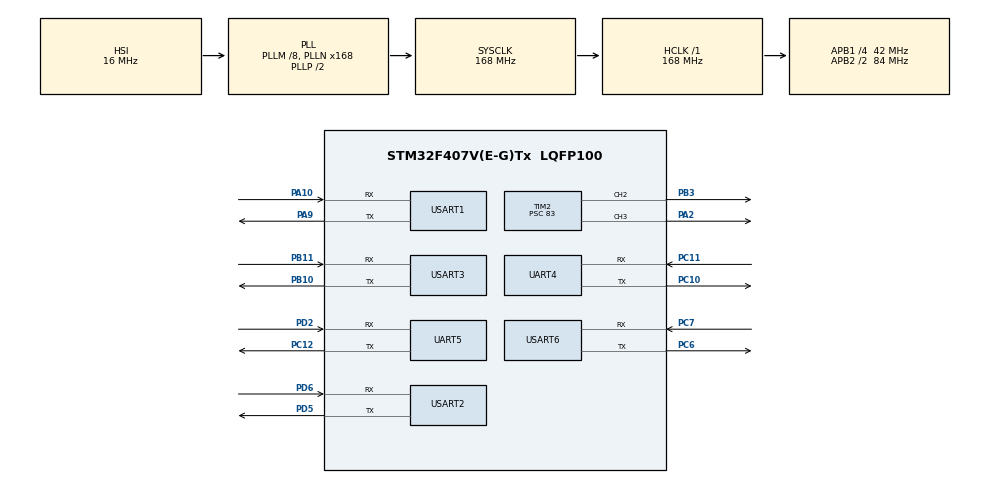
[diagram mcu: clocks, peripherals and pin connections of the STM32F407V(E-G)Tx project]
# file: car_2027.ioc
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Mcu.Family=STM32F4
Mcu.Name=STM32F407V(E-G)Tx
Mcu.Package=LQFP100
NVIC.PriorityGroup=NVIC_PRIORITYGROUP_4
NVIC.UART5_IRQn=true\:0\:0\:false\:false\:true\:true\:true\:true
NVIC.USART2_IRQn=true\:0\:0\:false\:false\:true\:true\:true\:true
PA10.Mode=Asynchronous
PA10.Signal=USART1_RX
PA13.Mode=Serial_Wire
PA13.Signal=SYS_JTMS-SWDIO
PA14.Mode=Serial_Wire
PA14.Signal=SYS_JTCK-SWCLK
PA2.Signal=S_TIM2_CH3
PA9.Mode=Asynchronous
PA9.Signal=USART1_TX
PB10.Mode=Asynchronous
PB10.Signal=USART3_TX
PB11.Mode=Asynchronous
PB11.Signal=USART3_RX
PB3.Signal=S_TIM2_CH2
PC10.Mode=Asynchronous
PC10.Signal=UART4_TX
PC11.Mode=Asynchronous
PC11.Signal=UART4_RX
PC12.Mode=Asynchronous
PC12.Signal=UART5_TX
PC6.Mode=Asynchronous
PC6.Signal=USART6_TX
PC7.Mode=Asynchronous
PC7.Signal=USART6_RX
PD2.Mode=Asynchronous
PD2.Signal=UART5_RX
PD5.Mode=Asynchronous
PD5.Signal=USART2_TX
PD6.Mode=Asynchronous
PD6.Signal=USART2_RX
ProjectManager.HeapSize=0x200
ProjectManager.StackSize=0x1000
ProjectManager.TargetToolchain=MDK-ARM V5.32
RCC.48MHZClocksFreq_Value=84000000
RCC.AHBFreq_Value=168000000
RCC.APB1CLKDivider=RCC_HCLK_DIV4
RCC.APB1Freq_Value=42000000
RCC.APB1TimFreq_Value=84000000
RCC.APB2CLKDivider=RCC_HCLK_DIV2
RCC.APB2Freq_Value=84000000
RCC.APB2TimFreq_Value=168000000
RCC.CortexFreq_Value=168000000
RCC.HCLKFreq_Value=168000000
RCC.HSE_VALUE=25000000
RCC.HSI_VALUE=16000000
RCC.LSE_VALUE=32768
RCC.PLLM=8
RCC.PLLN=168
RCC.SYSCLKFreq_VALUE=168000000
RCC.SYSCLKSource=RCC_SYSCLKSOURCE_PLLCLK
RCC.VCOOutputFreq_Value=336000000
SH.S_TIM2_CH2.0=TIM2_CH2,PWM Generation2 CH2
SH.S_TIM2_CH3.0=TIM2_CH3,PWM Generation3 CH3
TIM2.Channel-PWM\ Generation2\ CH2=TIM_CHANNEL_2
TIM2.Channel-PWM\ Generation3\ CH3=TIM_CHANNEL_3
TIM2.Period=19999
TIM2.Prescaler=83
TIM2.Pulse-PWM\ Generation2\ CH2=1500
TIM2.Pulse-PWM\ Generation3\ CH3=1500
UART4.VirtualMode=Asynchronous
UART5.VirtualMode=Asynchronous
USART1.VirtualMode=VM_ASYNC
USART2.VirtualMode=VM_ASYNC
USART3.VirtualMode=VM_ASYNC
USART6.VirtualMode=VM_ASYNC
VP_TIM2_VS_ClockSourceINT.Mode=Internal
board=custom

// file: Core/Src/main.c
/* USER CODE BEGIN Header */
/**
  ******************************************************************************
  * @file           : main.c
  * @brief          : Main program body
  ******************************************************************************
  * @attention
  *
  * Copyright (c) 2026 STMicroelectronics.
  * All rights reserved.
  *
  * This software is licensed under terms that can be found in the LICENSE file
  * in the root directory of this software component.
  * If no LICENSE file comes with this software, it is provided AS-IS.
  *
  ******************************************************************************
  */
/* USER CODE END Header */
#include "main.h"

/* USER CODE BEGIN Includes */
#include "Emm_V5.h"
#include "fashion_star_uart_servo.h"
#include "usart1.h"
#include "chassis.h"
#include "arm.h"
#include <stdio.h>
#include <string.h>
#include <math.h>
#include "hwt101.h"
#include "yaw_control.h"
#include <stdlib.h>
/* USER CODE END Includes */

TIM_HandleTypeDef htim2;

UART_HandleTypeDef huart4;
UART_HandleTypeDef huart5;
UART_HandleTypeDef huart1;
UART_HandleTypeDef huart2;
UART_HandleTypeDef huart3;
UART_HandleTypeDef huart6;

/* USER CODE BEGIN PV */
float yaw_target;
float debug_yaw;
float yaw_error;
float yaw_correction;

volatile float hwt_test_yaw = 0.0f;
/* USER CODE END PV */

void SystemClock_Config(void);
static void MX_GPIO_Init(void);
static void MX_TIM2_Init(void);
static void MX_UART4_Init(void);
static void MX_USART6_UART_Init(void);
static void MX_USART3_UART_Init(void);
static void MX_USART1_UART_Init(void);
static void MX_UART5_Init(void);
static void MX_USART2_UART_Init(void);
/* USER CODE BEGIN PFP */
void Link_Init(void);
void Link_RxCplt(void);
void Link_RxRestart(void);
void Link_Poll(void);
void Servo2_MoveRelative(float delta_angle);
void Claw_Set(uint32_t pulse_us);
void Claw_Open(void);
void Claw_Close(void);
void Turntable_Set(uint32_t pulse_us);
void Turntable_GoTo(uint8_t slot);
void Servos_PWM_Test(void);
void Delay_Report(uint32_t ms);

/* ID 1、ID 2 两个串口舵机(都在 usart2 上) */
float Servo_GetAngle(uint8_t id);
void  Servo_SetAngle(uint8_t id, float angle_deg, float speed_dps);
void  Servo_MoveRelative(uint8_t id, float delta_deg, float speed_dps);
void  Servo_Release(uint8_t id);
int   Servo_ReadAngle(uint8_t id, float *angle);
uint32_t Servo_Start(uint8_t id, float *angle_deg, float speed_dps);   /* 只发指令不等，返回估计要多少毫秒 */
void  Servo_Move(uint8_t id, float angle_deg, float speed_dps, float tol_deg, uint32_t extra_ms);   /* 可调到位误差的转动 */
void  Servo_StopIfStuck(uint8_t id, float target);   /* 没转到位又停住了：停在原地，不再一直顶着 */
void  Servo_Report(uint8_t id);                      /* SV?：电压/电流/功率/温度/状态 */
void  Servo_SetPower(uint16_t mw);                   /* 舵机转动时允许的最大功率(参数 SPOW) */
void  Servo_SetComp(uint8_t id, float deg);          /* 舵机往前多给的补偿角度(参数 S1COMP / S2COMP) */
void  Servo_SetLimits(uint8_t id, float lo, float hi);   /* 舵机限位(参数 S1MIN / S1MAX / S2MIN / S2MAX) */
void  Servo_Hold(uint8_t id, float angle_deg);       /* 停在 angle_deg，不再往原来的目标使劲 */
void  Servo_Track(uint8_t id, float angle_deg, float speed_dps);   /* 跟随用：只发目标不等，不补偿 */
int   Servo_Arrived(uint8_t id, float a, float tol_deg);   /* 到了没有(转过目标一点也算到) */
void  Servo_Params(uint8_t id);                      /* SVP?：舵机内部的保护设置 */
int   Servo_WriteParam(uint8_t id, const char *name, long value);   /* SVW：改舵机内部设置 */

/* USER CODE END PFP */

/* USER CODE BEGIN 0 */

/* 1 = 开机时执行下面 main() 里 #if SERVO_TEST_ON_BOOT 那一段舵机测试；平时、跑地图都保持 0 */
#define SERVO_TEST_ON_BOOT   1

/* 诊断开关(2026-10-07)：0 = 不启动新加的扫码(UART5)、串口屏(USART2)、夹爪/转盘 PWM，程序和加机械臂之前完全一样；
 *                      1 = 全部启动(正常版本)。
 * 用来判断"轮子不动"是不是新加的这几样引起的：先用 0 烧一次试 send S 100，再用 1 烧一次对比。 */
#define ARM_MODULES_ON       1

/* USER CODE END 0 */

int main(void)
{

  /* MCU Configuration--------------------------------------------------------*/

  /* Reset of all peripherals, Initializes the Flash interface and the Systick. */
  HAL_Init();

  /* Configure the system clock */
  SystemClock_Config();

  /* Initialize all configured peripherals */
  MX_GPIO_Init();
  MX_TIM2_Init();
  MX_UART4_Init();
  MX_USART6_UART_Init();
  MX_USART3_UART_Init();
  MX_USART1_UART_Init();
#if ARM_MODULES_ON
  MX_UART5_Init();
  MX_USART2_UART_Init();
#endif
  /* USER CODE BEGIN 2 */
  Usart_Init();

  HWT101_Init();

  /* 等第一帧陀螺仪角度，再开始接收树莓派指令 */
  {
      uint32_t t0 = HAL_GetTick();
      while (!HWT101_IsReady() && (HAL_GetTick() - t0) < 2000)
      {
      }
  }
  yaw_target = HWT101_GetYaw();      /* 开机时的车头方向 */

  /* 开机先关掉两个舵机的"上电锁力"，设置堵转时降功率，关掉舵机自己的角度限位，再让它们松手 */
  {
      uint8_t v;
      uint8_t id;
      for (id = 1; id <= 2; id++)
      {
          v = 0x00;  FSUS_WriteData(&usart2, id, FSUS_PARAM_POWER_ON_LOCK_SWITCH, &v, 1);
          v = 0x00;  FSUS_WriteData(&usart2, id, FSUS_PARAM_STALL_PROTECT, &v, 1);
          v = 0x00;  FSUS_WriteData(&usart2, id, FSUS_PARAM_ANGLE_LIMIT_SWITCH, &v, 1);   /* 舵机自己的角度限位会把 ID1 卡在 325/396，程序里有限位 */
          Servo_Release(id);
          HAL_Delay(20);
      }
  }

  /* 轮子和升降的驱动器：解除堵转保护并使能。驱动器触发堵转保护后会一直松轴不动，
   * 而驱动器是电池单独供电的，只重启/重新烧录 STM32 清不掉，所以开机先清一次(HOME 时也会清) */
  Car_Motor_Enable();

#if ARM_MODULES_ON
  Arm_Init();                        /* 启动夹爪/转盘 PWM，开始接收二维码 */
  /* 扫码模块、串口屏的中断优先级降到 3，比陀螺仪(1)、树莓派通信(2)低：没接模块时乱码也不会打断陀螺仪 */
  HAL_NVIC_SetPriority(UART5_IRQn, 3, 0);
  HAL_NVIC_SetPriority(USART2_IRQn, 3, 0);
#endif
  Link_Init();                       /* 开始接收树莓派指令 */
#if ARM_MODULES_ON
  HAL_UART_Transmit(&huart3, (uint8_t *)"READY ARM=1\r\n", 13, 100);
#else
  HAL_UART_Transmit(&huart3, (uint8_t *)"READY ARM=0\r\n", 13, 100);
#endif
  /* USER CODE END 2 */

  /* Infinite loop */
  /* USER CODE BEGIN WHILE */
while (1)
{
    static uint32_t last_send = 0;

    Link_Poll();                   /* 有指令就执行，执行完回 DONE 或 ERR */
    Car_Vel_Poll();                /* (10-16)按 V 走的时候：树莓派 400ms 没发新指令/急停就停车 */
#if ARM_MODULES_ON
    Arm_Poll();                    /* 处理扫码模块收到的任务码 */
#endif

    if (HAL_GetTick() - last_send >= 100)
    {
        char msg[40];
        int n;

        last_send = HAL_GetTick();
        n = snprintf(msg, sizeof(msg), "YAW100 %ld\r\n",
                     (long)(HWT101_GetYawContinuous() * 100.0f));
        HAL_UART_Transmit(&huart3, (uint8_t *)msg, n, 100);
    }
    /* USER CODE END WHILE */

}
}

void SystemClock_Config(void)
{
  RCC_OscInitTypeDef RCC_OscInitStruct = {0};
  RCC_ClkInitTypeDef RCC_ClkInitStruct = {0};

  /** Configure the main internal regulator output voltage
  */
  __HAL_RCC_PWR_CLK_ENABLE();
  __HAL_PWR_VOLTAGESCALING_CONFIG(PWR_REGULATOR_VOLTAGE_SCALE1);

  /** Initializes the RCC Oscillators according to the specified parameters
  * in the RCC_OscInitTypeDef structure.
  */
  RCC_OscInitStruct.OscillatorType = RCC_OSCILLATORTYPE_HSI;
  RCC_OscInitStruct.HSIState = RCC_HSI_ON;
  RCC_OscInitStruct.HSICalibrationValue = RCC_HSICALIBRATION_DEFAULT;
  RCC_OscInitStruct.PLL.PLLState = RCC_PLL_ON;
  RCC_OscInitStruct.PLL.PLLSource = RCC_PLLSOURCE_HSI;
  RCC_OscInitStruct.PLL.PLLM = 8;
  RCC_OscInitStruct.PLL.PLLN = 168;
  RCC_OscInitStruct.PLL.PLLP = RCC_PLLP_DIV2;
  RCC_OscInitStruct.PLL.PLLQ = 4;
  if (HAL_RCC_OscConfig(&RCC_OscInitStruct) != HAL_OK)
  {
    Error_Handler();
  }

  /** Initializes the CPU, AHB and APB buses clocks
  */
  RCC_ClkInitStruct.ClockType = RCC_CLOCKTYPE_HCLK|RCC_CLOCKTYPE_SYSCLK
                              |RCC_CLOCKTYPE_PCLK1|RCC_CLOCKTYPE_PCLK2;
  RCC_ClkInitStruct.SYSCLKSource = RCC_SYSCLKSOURCE_PLLCLK;
  RCC_ClkInitStruct.AHBCLKDivider = RCC_SYSCLK_DIV1;
  RCC_ClkInitStruct.APB1CLKDivider = RCC_HCLK_DIV4;
  RCC_ClkInitStruct.APB2CLKDivider = RCC_HCLK_DIV2;

  if (HAL_RCC_ClockConfig(&RCC_ClkInitStruct, FLASH_LATENCY_5) != HAL_OK)
  {
    Error_Handler();
  }
}

static void MX_TIM2_Init(void)
{

  TIM_ClockConfigTypeDef sClockSourceConfig = {0};
  TIM_MasterConfigTypeDef sMasterConfig = {0};
  TIM_OC_InitTypeDef sConfigOC = {0};

  htim2.Instance = TIM2;
  htim2.Init.Prescaler = 83;
  htim2.Init.CounterMode = TIM_COUNTERMODE_UP;
  htim2.Init.Period = 19999;
  htim2.Init.ClockDivision = TIM_CLOCKDIVISION_DIV1;
  htim2.Init.AutoReloadPreload = TIM_AUTORELOAD_PRELOAD_DISABLE;
  if (HAL_TIM_Base_Init(&htim2) != HAL_OK)
  {
    Error_Handler();
  }
  sClockSourceConfig.ClockSource = TIM_CLOCKSOURCE_INTERNAL;
  if (HAL_TIM_ConfigClockSource(&htim2, &sClockSourceConfig) != HAL_OK)
  {
    Error_Handler();
  }
  if (HAL_TIM_PWM_Init(&htim2) != HAL_OK)
  {
    Error_Handler();
  }
  sMasterConfig.MasterOutputTrigger = TIM_TRGO_RESET;
  sMasterConfig.MasterSlaveMode = TIM_MASTERSLAVEMODE_DISABLE;
  if (HAL_TIMEx_MasterConfigSynchronization(&htim2, &sMasterConfig) != HAL_OK)
  {
    Error_Handler();
  }
  sConfigOC.OCMode = TIM_OCMODE_PWM1;
  sConfigOC.Pulse = 1500;
  sConfigOC.OCPolarity = TIM_OCPOLARITY_HIGH;
  sConfigOC.OCFastMode = TIM_OCFAST_DISABLE;
  if (HAL_TIM_PWM_ConfigChannel(&htim2, &sConfigOC, TIM_CHANNEL_2) != HAL_OK)
  {
    Error_Handler();
  }
  if (HAL_TIM_PWM_ConfigChannel(&htim2, &sConfigOC, TIM_CHANNEL_3) != HAL_OK)
  {
    Error_Handler();
  }
  HAL_TIM_MspPostInit(&htim2);

}

static void MX_UART4_Init(void)
{

  huart4.Instance = UART4;
  huart4.Init.BaudRate = 115200;
  huart4.Init.WordLength = UART_WORDLENGTH_8B;
  huart4.Init.StopBits = UART_STOPBITS_1;
  huart4.Init.Parity = UART_PARITY_NONE;
  huart4.Init.Mode = UART_MODE_TX_RX;
  huart4.Init.HwFlowCtl = UART_HWCONTROL_NONE;
  huart4.Init.OverSampling = UART_OVERSAMPLING_16;
  if (HAL_UART_Init(&huart4) != HAL_OK)
  {
    Error_Handler();
  }

}

static void MX_UART5_Init(void)
{

  huart5.Instance = UART5;
  huart5.Init.BaudRate = 115200;
  huart5.Init.WordLength = UART_WORDLENGTH_8B;
  huart5.Init.StopBits = UART_STOPBITS_1;
  huart5.Init.Parity = UART_PARITY_NONE;
  huart5.Init.Mode = UART_MODE_TX_RX;
  huart5.Init.HwFlowCtl = UART_HWCONTROL_NONE;
  huart5.Init.OverSampling = UART_OVERSAMPLING_16;
  if (HAL_UART_Init(&huart5) != HAL_OK)
  {
    Error_Handler();
  }

}

static void MX_USART1_UART_Init(void)
{

  huart1.Instance = USART1;
  huart1.Init.BaudRate = 115200;
  huart1.Init.WordLength = UART_WORDLENGTH_8B;
  huart1.Init.StopBits = UART_STOPBITS_1;
  huart1.Init.Parity = UART_PARITY_NONE;
  huart1.Init.Mode = UART_MODE_TX_RX;
  huart1.Init.HwFlowCtl = UART_HWCONTROL_NONE;
  huart1.Init.OverSampling = UART_OVERSAMPLING_16;
  if (HAL_UART_Init(&huart1) != HAL_OK)
  {
    Error_Handler();
  }

}

static void MX_USART2_UART_Init(void)
{

  huart2.Instance = USART2;
  huart2.Init.BaudRate = 115200;
  huart2.Init.WordLength = UART_WORDLENGTH_8B;
  huart2.Init.StopBits = UART_STOPBITS_1;
  huart2.Init.Parity = UART_PARITY_NONE;
  huart2.Init.Mode = UART_MODE_TX_RX;
  huart2.Init.HwFlowCtl = UART_HWCONTROL_NONE;
  huart2.Init.OverSampling = UART_OVERSAMPLING_16;
  if (HAL_UART_Init(&huart2) != HAL_OK)
  {
    Error_Handler();
  }

}

static void MX_USART3_UART_Init(void)
{

  huart3.Instance = USART3;
  huart3.Init.BaudRate = 115200;
  huart3.Init.WordLength = UART_WORDLENGTH_8B;
  huart3.Init.StopBits = UART_STOPBITS_1;
  huart3.Init.Parity = UART_PARITY_NONE;
  huart3.Init.Mode = UART_MODE_TX_RX;
  huart3.Init.HwFlowCtl = UART_HWCONTROL_NONE;
  huart3.Init.OverSampling = UART_OVERSAMPLING_16;
  if (HAL_UART_Init(&huart3) != HAL_OK)
  {
    Error_Handler();
  }

}

static void MX_USART6_UART_Init(void)
{

  huart6.Instance = USART6;
  huart6.Init.BaudRate = 115200;
  huart6.Init.WordLength = UART_WORDLENGTH_8B;
  huart6.Init.StopBits = UART_STOPBITS_1;
  huart6.Init.Parity = UART_PARITY_NONE;
  huart6.Init.Mode = UART_MODE_TX_RX;
  huart6.Init.HwFlowCtl = UART_HWCONTROL_NONE;
  huart6.Init.OverSampling = UART_OVERSAMPLING_16;
  if (HAL_UART_Init(&huart6) != HAL_OK)
  {
    Error_Handler();
  }

}

static void MX_GPIO_Init(void)
{

  /* GPIO Ports Clock Enable */
  __HAL_RCC_GPIOA_CLK_ENABLE();
  __HAL_RCC_GPIOB_CLK_ENABLE();
  __HAL_RCC_GPIOC_CLK_ENABLE();
  __HAL_RCC_GPIOD_CLK_ENABLE();

}

/* USER CODE BEGIN 4 */
/* 等待 ms 毫秒，同时每 100ms 通过 USART3 发一次角度 */
void Delay_Report(uint32_t ms)
{
    uint32_t t0 = HAL_GetTick();
    uint32_t last = 0;
    char msg[40];
    int n;

    while ((HAL_GetTick() - t0) < ms)
    {
        if ((HAL_GetTick() - last) >= 100)
        {
            last = HAL_GetTick();
            n = snprintf(msg, sizeof(msg), "YAW100 %ld\r\n",
                                                 (long)(HWT101_GetYawContinuous() * 100.0f));
            HAL_UART_Transmit(&huart3, (uint8_t *)msg, n, 100);
        }
    }
}

/* ======== 树莓派指令通道 (USART3) ========
 * 树莓派 -> STM32(每条一行文本)：
 *   PING | HOME | P2 | YAW? | GET | SET 名字 数值 | CAL [距离mm [速度]]
 *   F <mm> [速度] | S <mm> [速度] | R <度>        前进(负数后退) / 左移(负数右移) / 逆时针转(负数顺时针)
 *                                                   R 可以带 1 位小数(例如 R -1.4)，R 0 = 把现在的车头记为要保持的方向
 *   A <id> <度> | U <id>                            舵机
 *   MOT? | MOT EN                                   读 1~5 号电机驱动器的电压/使能/堵转保护 | 解除堵转保护并使能
 *   !                                               (单独一个字符，不用换行)紧急停车
 * STM32 -> 树莓派：DONE [t=用时ms e=车头误差0.01度] | ERR <原因> | PONG | READY | YAW100 <角度x100> | P 名字=数值 | CAL … | MOT …
 *   转弯时轮子没转起来(陀螺仪几乎不变)回 ERR STALL t=… e=…
 * 同一时间只发一条，等到 DONE/ERR 再发下一条(动作没做完时又来一行，会存下来、做完再执行，见 Link_RxCplt)。 */
#define LINK_BUF 48

static uint8_t           link_rx;
static char              link_line[LINK_BUF];
static uint8_t           link_len = 0;
static char              link_cmd[LINK_BUF];
static volatile uint8_t  link_ready = 0;

static void Link_Reply(const char *s)
{
    HAL_UART_Transmit(&huart3, (uint8_t *)s, (uint16_t)strlen(s), 100);
}

void Link_Init(void)
{
    link_len = 0;
    link_ready = 0;
    HAL_NVIC_SetPriority(USART3_IRQn, 2, 0);
    HAL_NVIC_EnableIRQ(USART3_IRQn);
    HAL_UART_Receive_IT(&huart3, &link_rx, 1);
}

/* 在串口中断里调用：收到的字节拼成一行，收到换行就交给主循环去执行；收到 '!' 马上急停 */
void Link_RxCplt(void)
{
    uint8_t b = link_rx;

    if (b == '!')
    {
        car_abort = 1;                         /* 闭环动作每个控制周期都会检查它，马上停车 */
    }
    else if (b == '\r')
    {
        /* 忽略 */
    }
    else if (b == '\n')
    {
        /* 动作执行时 link_ready 已经清掉了(Link_Poll 先取走指令再执行)，所以动作没做完时来的第一行会存下来，
         * 等这个动作做完再执行；存下一行以后、Link_Poll 取走它之前再来的行才丢掉 */
        if (link_len > 0 && !link_ready)
        {
            uint8_t i;
            for (i = 0; i < link_len; i++) link_cmd[i] = link_line[i];
            link_cmd[link_len] = 0;
            link_ready = 1;
        }
        link_len = 0;
    }
    else if (link_len < LINK_BUF - 1)
    {
        link_line[link_len++] = (char)b;
    }
    else
    {
        link_len = 0;                          /* 太长，丢掉这一行 */
    }

    HAL_UART_Receive_IT(&huart3, &link_rx, 1);
}

void Link_RxRestart(void)
{
    link_len = 0;
    HAL_UART_Receive_IT(&huart3, &link_rx, 1);
}

/* 第二站移动(树莓派现在会自己按配置里的 second_relative_moves 逐条发 S、F、R；这个 P2 是兼容旧版树莓派程序用的，
 * 数值要和树莓派配置里的 second_relative_moves 一致)：左移 42、前进 83、顺时针转 60°(绕车中心转) */
#define P2_LEFT_MM   42.0f
#define P2_FWD_MM    83.0f
#define P2_CW_DEG    60.0f
static void Second_Station_Move(void)
{
    Car_Home();
    Car_Move_Align('L', ROUTE_STRAFE_SPEED, P2_LEFT_MM);
    Car_Move_Align('F', ROUTE_SPEED, P2_FWD_MM);
    Car_TurnBy_Center(-P2_CW_DEG);
}

/* 动作做完回复：被急停打断回 ERR ABORT；转弯时轮子没转起来回 ERR STALL t=… e=…；否则回 DONE t=用时(毫秒) e=车头误差(0.01度) */
static void Link_Done(uint32_t t0)
{
    char m[40];
    int n;

    if (car_abort)
    {
        car_abort = 0;
        Link_Reply("ERR ABORT\r\n");
        return;
    }
    n = snprintf(m, sizeof(m), "%s t=%lu e=%ld\r\n", car_stalled ? "ERR STALL" : "DONE",
                 (unsigned long)(HAL_GetTick() - t0), (long)(car_last_err * 100.0f));
    car_stalled = 0;
    HAL_UART_Transmit(&huart3, (uint8_t *)m, (uint16_t)n, 100);
}

/* 主循环里调用：有指令就执行，执行完回 DONE 或 ERR
 * F / S 后面可以多带一个速度(转/分)，例如 "F 300 120" = 用 120转/分 走 300mm；不带就用 ROUTE_SPEED / ROUTE_STRAFE_SPEED
 * 舵机："A 1 90" = 1号舵机转到 90°(绝对角度)；"A 2 -30" = 2号舵机转到 -30°；"U 2" = 2号舵机松手 */
void Link_Poll(void)
{
    char cmd[LINK_BUF];
    char c;
    long v;
    long sp;
    int pr;
    uint16_t speed;
    uint32_t t0;

    if (!link_ready)
    {
        return;
    }
    strcpy(cmd, (const char *)link_cmd);
    link_ready = 0;
    car_abort = 0;                                 /* 清掉上一条留下的急停标志 */
    car_stalled = 0;
    t0 = HAL_GetTick();
    if (Car_Vel_On() && cmd[0] != 'V')
    {
        Car_Vel(0.0f, 0.0f);                         /* (10-16)别的指令来了：先停下 V 的连续走 */
    }

    if (strcmp(cmd, "PING") == 0)
    {
        Link_Reply("PONG\r\n");
        return;
    }
    if (strcmp(cmd, "HOME") == 0)
    {
        if (!HWT101_IsFresh(500)) { Link_Reply("ERR GYRO\r\n"); return; }
        Car_Motor_Enable();                        /* 一键流程开始：驱动器解除堵转保护并使能 */
        Car_Home();                                /* 现在的车头方向 = 要保持的方向 */
        Link_Reply("DONE\r\n");
        return;
    }
    if (strcmp(cmd, "MOT?") == 0)
    {
        Car_Motor_Report();                        /* 每个驱动器一行 MOT … */
        Link_Reply("DONE\r\n");
        return;
    }
    /* (10-17 用户)WCHK：车放在地上，自动判断麦轮是怎么装的(打印 WCHK ... MODE=)，只报告不改参数 */
    if (strcmp(cmd, "WCHK") == 0)
    {
        int mo = Car_Wheel_Check();
        if (mo == -2)      Link_Reply("ERR GYRO\r\n");
        else if (mo == -3) Link_Reply("ERR ABORT\r\n");
        else               Link_Reply("DONE\r\n");
        return;
    }
    /* (10-17 用户)WT n [转速]：只转 n 号轮子驱动器(1~4) 2 秒，默认 30 转/分。车架空看是哪个轮子、往前还是往后 */
    if (cmd[0] == 'W' && cmd[1] == 'T' && cmd[2] == ' ')
    {
        char *e1;
        char *e2;
        long id = strtol(&cmd[3], &e1, 10);
        long rpm = 30;
        if (e1 == &cmd[3] || id < 1 || id > 4)                       { Link_Reply("ERR ARG\r\n"); return; }
        if (*e1 == ' ')
        {
            rpm = strtol(e1 + 1, &e2, 10);
            if (e2 == e1 + 1 || *e2 != 0 || rpm < 5 || rpm > 120)   { Link_Reply("ERR ARG\r\n"); return; }
        }
        else if (*e1 != 0)                                           { Link_Reply("ERR ARG\r\n"); return; }
        Car_Wheel_Test((uint8_t)id, (uint16_t)rpm);
        Link_Reply("DONE\r\n");
        return;
    }
    if (strcmp(cmd, "MOT EN") == 0)
    {
        Car_Motor_Enable();
        Link_Reply("DONE\r\n");
        return;
    }
    if (strcmp(cmd, "P2") == 0)
    {
        if (!HWT101_IsFresh(500)) { Link_Reply("ERR GYRO\r\n"); return; }
        Second_Station_Move();
        Link_Done(t0);
        return;
    }
    if (strcmp(cmd, "YAW?") == 0)
    {
        char m[32];
        int n = snprintf(m, sizeof(m), "YAW100 %ld\r\n", (long)(HWT101_GetYawContinuous() * 100.0f));
        HAL_UART_Transmit(&huart3, (uint8_t *)m, (uint16_t)n, 100);
        return;
    }
    if (strcmp(cmd, "GET") == 0)
    {
        Car_Param_Dump();
        Arm_Param_Dump();
        Link_Reply("DONE\r\n");
        return;
    }

    /* (10-16)连续速度："V 横移 前进"(mm/s，左/前为正)，马上回 DONE，车一直按这个速度走，400ms 没新的 V 自动停；
     * "V?" 回 "VD 横移 前进"(V 一共走了多少 mm) */
    if (strcmp(cmd, "TRACE?") == 0)
    {
        Car_Trace_Dump();                          /* (10-17)上一次直行每 0.1 秒的记录 */
        Link_Reply("DONE\r\n");
        return;
    }
    if (cmd[0] == 'V' && cmd[1] == '?' && cmd[2] == 0)
    {
        float vs, vf;
        char m[48];
        Car_Vel_Read(&vs, &vf);
        snprintf(m, sizeof(m), "VD %ld %ld\r\nDONE\r\n", (long)(vs * 10.0f), (long)(vf * 10.0f));
        Link_Reply(m);
        return;
    }
    if (cmd[0] == 'V' && cmd[1] == ' ')
    {
        char *e1;
        char *e2;
        float vs = (float)strtod(&cmd[2], &e1);
        float vf;
        if (e1 == &cmd[2] || *e1 != ' ')             { Link_Reply("ERR ARG\r\n"); return; }
        vf = (float)strtod(e1 + 1, &e2);
        if (e2 == e1 + 1 || *e2 != 0)                { Link_Reply("ERR ARG\r\n"); return; }
        Car_Vel(vs, vf);
        Link_Reply("DONE\r\n");
        return;
    }
    /* 在线改参数："SET 名字 数值" */
    if (cmd[0] == 'S' && cmd[1] == 'E' && cmd[2] == 'T' && cmd[3] == ' ')
    {
        char name[12];
        char *p = &cmd[4];
        char *e;
        float val;
        int n = 0;
        int r;

        while (*p != 0 && *p != ' ' && n < 11)
        {
            name[n++] = *p++;
        }
        name[n] = 0;
        if (*p != ' ')                               { Link_Reply("ERR ARG\r\n"); return; }
        val = (float)strtod(p + 1, &e);
        if (e == p + 1 || *e != 0)                   { Link_Reply("ERR ARG\r\n"); return; }
        r = Car_Param_Set(name, val);
        if (r == 0)      r = Arm_Param_Set(name, val);   /* 机械臂参数 */
        if (r == 1)      Link_Reply("DONE\r\n");
        else if (r == 2) Link_Reply("ERR RANGE\r\n");
        else             Link_Reply("ERR NAME\r\n");
        return;
    }

    /* 横移校准："CAL" / "CAL 800" / "CAL 800 170"：不纠偏地左移再右移，自动测出车自己的偏转模型，结果立刻生效并打印 */
    if (cmd[0] == 'C' && cmd[1] == 'A' && cmd[2] == 'L' && (cmd[3] == 0 || cmd[3] == ' '))
    {
        long dist = 800;
        long cs = ROUTE_STRAFE_SPEED;

        if (cmd[3] == ' ')
        {
            char *e1;
            char *e2;
            dist = strtol(&cmd[4], &e1, 10);
            if (e1 == &cmd[4] || dist < 200 || dist > 1500) { Link_Reply("ERR ARG\r\n"); return; }
            if (*e1 == ' ')
            {
                cs = strtol(e1 + 1, &e2, 10);
                if (e2 == e1 + 1 || *e2 != 0 || cs < 20 || cs > 300) { Link_Reply("ERR ARG\r\n"); return; }
            }
            else if (*e1 != 0)                          { Link_Reply("ERR ARG\r\n"); return; }
        }
        if (!HWT101_IsFresh(500))                       { Link_Reply("ERR GYRO\r\n"); return; }
        Car_Strafe_Calib((uint16_t)cs, (float)dist);
        Link_Done(t0);
        return;
    }

    /* 舵机：A + 空格 + ID(1或2) + 空格 + 角度 */
    if (cmd[0] == 'A' && cmd[1] == ' ')
    {
        char *e1;
        char *e2;
        long id = strtol(&cmd[2], &e1, 10);
        long ang;
        if (e1 == &cmd[2] || *e1 != ' ' || (id != 1 && id != 2)) { Link_Reply("ERR ARG\r\n"); return; }
        ang = strtol(e1 + 1, &e2, 10);
        if (e2 == e1 + 1 || *e2 != 0)                            { Link_Reply("ERR ARG\r\n"); return; }
        Servo_SetAngle((uint8_t)id, (float)ang, 0.0f);
        Link_Reply("DONE\r\n");
        return;
    }

    /* 舵机松手："U 1" / "U 2" */
    if (cmd[0] == 'U' && cmd[1] == ' ')
    {
        char *e1;
        long id = strtol(&cmd[2], &e1, 10);
        if (e1 == &cmd[2] || *e1 != 0 || (id != 1 && id != 2)) { Link_Reply("ERR ARG\r\n"); return; }
        Servo_Release((uint8_t)id);
        Link_Reply("DONE\r\n");
        return;
    }

    /* F / S + 空格 + 整数 mm [+ 空格 + 速度]；R + 空格 + 角度(可以带 1 位小数) */
    pr = Car_Parse_Move(cmd, &c, &v, &sp);           /* R 的 v 是角度×10 */
    if (pr != 0)
    {
        if (pr < 0)                                  { Link_Reply("ERR ARG\r\n"); return; }
        if (!HWT101_IsFresh(500))                    { Link_Reply("ERR GYRO\r\n"); return; }

        if (c == 'R')
        {
            if (v > 1800 || v < -1800)               { Link_Reply("ERR RANGE\r\n"); return; }
            if (v != 0)
            {
                Car_TurnBy_Center((float)v / 10.0f); /* 绕车中心转，按累计的目标航向转 */
            }
            else
            {
                Car_Home();                          /* R 0 = 把现在的车头记为要保持的方向 */
            }
        }
        else
        {
            if (v > 2500 || v < -2500)               { Link_Reply("ERR RANGE\r\n"); return; }
            speed = (sp > 0) ? (uint16_t)sp : (uint16_t)((c == 'F') ? ROUTE_SPEED : ROUTE_STRAFE_SPEED);
            if (v != 0)
            {
                if (c == 'F')      Car_Move_Align((v > 0) ? 'F' : 'B', speed, (float)(v > 0 ? v : -v));
                else               Car_Move_Align((v > 0) ? 'L' : 'R', speed, (float)(v > 0 ? v : -v));
            }
        }
        Link_Done(t0);
        return;
    }

    /* 机械臂指令：CLAW / TT / LIFT / GRAB / PLACE / QR / SCR (见 arm.h) */
#if ARM_MODULES_ON
    {
        char aerr[24];
        int ar = Arm_Command(cmd, aerr, (int)sizeof(aerr));

        if (ar > 0)
        {
            Link_Done(t0);
            return;
        }
        if (ar < 0)
        {
            Link_Reply(aerr);
            Link_Reply("\r\n");
            return;
        }
    }
#endif

    Link_Reply("ERR CMD\r\n");
}

#define CLAW_OPEN_US        2090u
#define CLAW_CLOSE_US       2910u
#define CLAW_MIN_US         500u     /* 10-15 用户重装夹爪：要用到 1300 左右，下限放宽到舵机常用的 500 */
#define CLAW_MAX_US         2910u
#define TURNTABLE_SLOT1_US  2608u
#define TURNTABLE_STEP_US   900u
#define TURNTABLE_MIN_US    500u
#define TURNTABLE_MAX_US    2608u

void Claw_Set(uint32_t pulse_us)
{
    if (pulse_us < CLAW_MIN_US) pulse_us = CLAW_MIN_US;
    if (pulse_us > CLAW_MAX_US) pulse_us = CLAW_MAX_US;
    __HAL_TIM_SET_COMPARE(&htim2, TIM_CHANNEL_3, pulse_us);
}

void Claw_Open(void)  { Claw_Set(CLAW_OPEN_US); }
void Claw_Close(void) { Claw_Set(CLAW_CLOSE_US); }

void Turntable_Set(uint32_t pulse_us)
{
    if (pulse_us < TURNTABLE_MIN_US) pulse_us = TURNTABLE_MIN_US;
    if (pulse_us > TURNTABLE_MAX_US) pulse_us = TURNTABLE_MAX_US;
    __HAL_TIM_SET_COMPARE(&htim2, TIM_CHANNEL_2, pulse_us);
}

void Turntable_GoTo(uint8_t slot)   /* slot = 1/2/3 */
{
    if (slot < 1) slot = 1;
    if (slot > 3) slot = 3;
    Turntable_Set(TURNTABLE_SLOT1_US - (uint32_t)(slot - 1) * TURNTABLE_STEP_US);
}

void Servos_PWM_Test(void)
{
    uint8_t i;

    Claw_Open();   HAL_Delay(1000);
    Claw_Close();  HAL_Delay(1000);
    Claw_Open();   HAL_Delay(1000);

    for (i = 1; i <= 3; i++)
    {
        Turntable_GoTo(i);
        HAL_Delay(1500);
    }
    Turntable_GoTo(1);
}

/* 旧函数，保留：2 号舵机在当前角度上再转 delta_angle 度(改成调用新的安全版本，不会卡死) */
void Servo2_MoveRelative(float delta_angle)
{
    Servo_MoveRelative(2, delta_angle, 50.0f);
}

/* ================= ID 1、ID 2 串口舵机(都在 usart2 上) ================= */
#define SERVO_DEFAULT_SPEED   60.0f     /* 默认转速 度/秒 */
#define SERVO_ACC_MS          100       /* 加速时间 ms */
#define SERVO_DEC_MS          100       /* 减速时间 ms */
#define SERVO_POWER           30000     /* 开机时的最大功率 mW(= 当时 set SPOW 30000 的值；舵机内部 PMAX 已改成 40000)。可以用 SET SPOW 在线改 */
#define SERVO_ARRIVE_TOL      2.0f      /* 离目标多少度以内算到位 */
#define SERVO_WAIT_EXTRA_MS   1000      /* 按速度算的时间之外最多再等多久，到时间没到位就放弃，不再死等 */
#define SERVO_RELEASE_POWER   0         /* 松手时的阻尼功率 mW：0 = 完全松开；机构会掉下来就调大一点 */
#define SERVO_STUCK_DEG       2.0f      /* 停住不动、离目标还差这么多度以上，才去看是不是被挡住 */
#define SERVO_STILL_MS        500       /* 角度这么久变化不到 0.5° 算停住了 */
#define SERVO_CHECK_AFTER_MS  800       /* 开始转以后至少过这么久才判断停没停(舵机起步慢、中途停顿都不算) */
#define SERVO_PUSH_MA         200       /* 停住时电流到这么大(或者舵机报堵转) = 在使劲顶着东西，才让它停在原地 */
#define SERVO_SLOW_EXTRA_MS   2000      /* 到了估计的时间还没到位、但还在动，最多再多等这么久 */
#define SERVO_WAIT_MAX_MS     9000      /* 一次转动最多等这么久(树莓派那边 AF 最多等 10 秒) */
#define SERVO_COMP1_DEG       5.0f      /* ID1 补偿：手臂有摩擦，舵机总停在离目标差 4~5° 的地方，就往前多给 5°，到了目标马上停(SET S1COMP 改) */
#define SERVO_COMP2_DEG       0.0f      /* ID2 补偿(SET S2COMP 改，0 = 不补) */
#define SERVO_FINE_SPEED      15.0f     /* 小动作的最高转速 度/秒 */
#define SERVO_POLL_FINE_MS    8u        /* 离目标 SERVO_FINE_DEG 以内时多久查一次角度(平时 30ms) */

static uint16_t servo_power = SERVO_POWER;      /* 现在用的最大功率(SET SPOW 改) */
static float servo_comp[3] = { 0.0f, SERVO_COMP1_DEG, SERVO_COMP2_DEG };   /* 每个舵机往前多给的角度 */
static float servo_goal[3];                     /* Servo_Start 记下的真正目标 */
static float servo_dir[3];                      /* 转的方向：1 往大、-1 往小、0 = 不知道(读不到起点，不补偿) */

void Servo_SetPower(uint16_t mw)
{
    servo_power = mw;
}

void Servo_SetComp(uint8_t id, float deg)
{
    if (id == 1 || id == 2)
    {
        servo_comp[id] = deg;
    }
}

/* 限位(度，多圈角度)：你之前测好的数 */
#define SERVO1_MIN_DEG    44.0f    /* 10-16 用户在车上松开 ID1 用手转到两头量的：42.4° ~ 244.2°，各留一点余量 */
#define SERVO1_MAX_DEG   244.0f
#define SERVO2_MIN_DEG   -1210.0f   /* 10-16 用户：ID2 最低限位 -1210 */
#define SERVO2_MAX_DEG    -300.0f   /* 10-16 用户：ID2 最高限位 -300 */

/* (10-18 用户：齿条够长，限位要能调)上面是开机默认值；SET S1MIN / S1MAX / S2MIN / S2MAX 在线改(arm.c 的参数表，
 * 树莓派 set 过的存进配置、每次开机发过来) */
static float servo_lim_lo[3] = { 0.0f, SERVO1_MIN_DEG, SERVO2_MIN_DEG };
static float servo_lim_hi[3] = { 0.0f, SERVO1_MAX_DEG, SERVO2_MAX_DEG };

void Servo_SetLimits(uint8_t id, float lo, float hi)
{
    if ((id == 1 || id == 2) && lo < hi)
    {
        servo_lim_lo[id] = lo;
        servo_lim_hi[id] = hi;
    }
}

/* 读当前角度(多圈)。读成功返回 1，角度放进 *angle；读失败返回 0 */
int Servo_ReadAngle(uint8_t id, float *angle)
{
    float a = 0.0f;
    if (FSUS_QueryServoAngleMTurn(&usart2, id, &a) == FSUS_STATUS_SUCCESS)
    {
        *angle = a;
        return 1;
    }
    return 0;
}

/* 读当前角度(多圈)，读失败返回 0(只用来打印，不要用它来算目标) */
float Servo_GetAngle(uint8_t id)
{
    float a = 0.0f;
    Servo_ReadAngle(id, &a);
    return a;
}

/* 把目标角度限制在限位里 */
static float Servo_Clamp(uint8_t id, float angle_deg)
{
    float lo = servo_lim_lo[(id == 1) ? 1 : 2];
    float hi = servo_lim_hi[(id == 1) ? 1 : 2];

    if (angle_deg < lo) angle_deg = lo;
    if (angle_deg > hi) angle_deg = hi;
    return angle_deg;
}

/* 只发转动指令，不等它转完(机械臂让 ID1、ID2 同时转就用它)。
 * *angle_deg 会被限位修正；speed_dps<=0 用默认速度。返回估计要多少毫秒转完(含加减速)，id 不对返回 0。
 * 补偿：手臂有摩擦，舵机总停在离目标差几度的地方，所以发给舵机的目标往转的方向多给 servo_comp 度；
 * 等的时候(Servo_Wait、arm.c 的 Servos_To)一到真正的目标就 Servo_Hold 让它停住，不会多转过去。 */
uint32_t Servo_Start(uint8_t id, float *angle_deg, float speed_dps)
{
    float start, d, cmd;

    if (id != 1 && id != 2)
    {
        return 0;
    }
    *angle_deg = Servo_Clamp(id, *angle_deg);
    if (speed_dps <= 0.0f)
    {
        speed_dps = SERVO_DEFAULT_SPEED;
    }

    servo_goal[id] = *angle_deg;
    servo_dir[id] = 0.0f;
    start = *angle_deg;
    if (FSUS_QueryServoAngleMTurn(&usart2, id, &start) == FSUS_STATUS_SUCCESS)
    {
        d = *angle_deg - start;
        if (d > 0.05f)  servo_dir[id] = 1.0f;
        if (d < -0.05f) servo_dir[id] = -1.0f;
    }
    else
    {
        start = *angle_deg + 90.0f;              /* 读不到就按最多转 90° 估时间，也不补偿(不知道往哪边转) */
    }
    d = *angle_deg - start;
    if (d < 0.0f) d = -d;
    if (d < SERVO_FINE_DEG && speed_dps > SERVO_FINE_SPEED)
    {
        speed_dps = SERVO_FINE_SPEED;            /* 小动作慢一点：多给了补偿角度，转得快到了来不及停会转过头 */
    }

    cmd = Servo_Clamp(id, *angle_deg + servo_dir[id] * servo_comp[id]);   /* 往前多给几度，但不超出限位 */
    FSUS_SetServoAngleMTurnByVelocity(&usart2, id, cmd, speed_dps,
                                      SERVO_ACC_MS, SERVO_DEC_MS, servo_power, 0);   /* 最后的 0 = 不用库里会卡死的等待 */
    return (uint32_t)(d / speed_dps * 1000.0f) + SERVO_ACC_MS + SERVO_DEC_MS;
}

/* 让舵机就停在 angle_deg(一般是它现在的位置)：目标改成这个角度，它就不会再使劲往原来的目标(多给了补偿的目标)顶 */
void Servo_Hold(uint8_t id, float angle_deg)
{
    FSUS_SetServoAngleMTurnByVelocity(&usart2, id, angle_deg, SERVO_DEFAULT_SPEED,
                                      SERVO_ACC_MS, SERVO_DEC_MS, servo_power, 0);
}

/* (10-16 用户)跟随用：往 angle_deg 转，不等、不多给补偿角度(目标一直在更新，多给了会冲过头)。限位照样管 */
void Servo_Track(uint8_t id, float angle_deg, float speed_dps)
{
    if (id != 1 && id != 2)
    {
        return;
    }
    angle_deg = Servo_Clamp(id, angle_deg);
    if (speed_dps <= 0.0f)
    {
        speed_dps = SERVO_DEFAULT_SPEED;
    }
    servo_goal[id] = angle_deg;
    servo_dir[id] = 0.0f;
    FSUS_SetServoAngleMTurnByVelocity(&usart2, id, angle_deg, speed_dps,
                                      SERVO_ACC_MS, SERVO_DEC_MS, servo_power, 0);
}

/* 往目标方向还差多少度(转过了是负数)。target 是 Servo_Start 记下的目标才按方向算，否则按离目标的距离算 */
static float Servo_Left(uint8_t id, float a, float target)
{
    float e = target - a;

    if (target == servo_goal[id] && servo_dir[id] > 0.5f)
    {
        return e;
    }
    if (target == servo_goal[id] && servo_dir[id] < -0.5f)
    {
        return -e;
    }
    return (e < 0.0f) ? -e : e;
}

/* 到了没有：离目标 tol_deg 以内，或者已经转过了目标(往前多给了补偿角度，转过一点也算到) */
int Servo_Arrived(uint8_t id, float a, float tol_deg)
{
    if (id != 1 && id != 2)
    {
        return 0;
    }
    return Servo_Left(id, a, servo_goal[id]) <= tol_deg;
}

/* 读舵机现在的电流(mA)和状态字节(见 fashion_star_uart_servo.h 的 FSUS_PARAM_SERVO_STATUS)。读不到是 -1 / 0 */
static void Servo_Load(uint8_t id, long *ma, uint8_t *st)
{
    uint8_t buf[FSUS_PACK_RESPONSE_MAX_SIZE];
    uint8_t sz = 0;

    *ma = -1;
    *st = 0;
    if (FSUS_ReadData(&usart2, id, FSUS_PARAM_CURRENT, buf, &sz) == FSUS_STATUS_SUCCESS && sz >= 2)
    {
        *ma = (long)((uint16_t)buf[0] | ((uint16_t)buf[1] << 8));
    }
    sz = 0;
    if (FSUS_ReadData(&usart2, id, FSUS_PARAM_SERVO_STATUS, buf, &sz) == FSUS_STATUS_SUCCESS && sz >= 1)
    {
        *st = buf[0];
    }
}

static void Servo_Say(const char *what, uint8_t id, float a, float target, long ma, uint8_t st)
{
    char m[112];
    int n = snprintf(m, sizeof(m), "SERVO%d %s at=%ld target=%ld (x0.1deg) I=%ldmA ST=0x%02X\r\n",
                     (int)id, what, (long)(a * 10.0f), (long)(target * 10.0f), ma, (unsigned)st);
    HAL_UART_Transmit(&huart3, (uint8_t *)m, (uint16_t)n, 100);
}

/* 等舵机转到 target(离 tol_deg 以内，或者已经转过一点)。tmax = 估计要多久，check_after = 开始多久以后才判断"停住了"。到位返回 1。
 * 停住了(SERVO_STILL_MS 内变化不到 0.5°)又离目标还远：
 *   - 电流大(>= SERVO_PUSH_MA)或舵机报堵转 = 被挡住了：让它停在原地，不再一直使劲顶(顶着几十秒就烫手)，打印 STUCK；
 *   - 电流小 = 没在使劲，只是停顿了：重新发一次目标(打印 PAUSED)，接着等。重发过还停着就不再等。
 * 到了估计的时间还在动(舵机比设定的速度慢)：最多再多等 SERVO_SLOW_EXTRA_MS。
 * 不管怎么结束，最后都让它停在现在的位置(Servo_Hold)：到了就不再往多给的补偿角度使劲，没到也不再一直顶着。 */
static int Servo_Wait(uint8_t id, float target, float speed_dps, float tol_deg, uint32_t tmax, uint32_t check_after)
{
    float a = 0.0f;
    float ref = 0.0f;
    float d;
    uint32_t t0 = HAL_GetTick();
    uint32_t tref = t0;
    uint32_t el;
    int have = 0;
    int kicked = 0;
    long ma;
    uint8_t st;
    uint32_t poll = 30u;
    float left;

    for (;;)
    {
        HAL_Delay(poll);
        el = HAL_GetTick() - t0;
        if (FSUS_QueryServoAngleMTurn(&usart2, id, &a) == FSUS_STATUS_SUCCESS)
        {
            if (car_abort)
            {
                Servo_Hold(id, a);                 /* (10-21)急停：停在现在的地方(以前要等它转完，最多 9 秒) */
                return 0;
            }
            left = Servo_Left(id, a, target);
            if (left <= tol_deg)
            {
                Servo_Hold(id, a);                 /* 到了(或者刚转过一点)：就停在这里，不再往多给的补偿角度使劲 */
                return 1;
            }
            poll = (left < SERVO_FINE_DEG) ? SERVO_POLL_FINE_MS : 30u;   /* 快到了查勤一点，到了马上停 */
            d = a - ref;
            if (d < 0.0f) d = -d;
            if (!have || d > 0.5f)
            {
                ref = a;                           /* 还在动 */
                tref = HAL_GetTick();
                have = 1;
            }
            else
            {
                uint32_t still = HAL_GetTick() - tref;

                d = a - target;
                if (d < 0.0f) d = -d;
                if (d <= SERVO_STUCK_DEG)
                {
                    if (el >= (uint32_t)SERVO_ACC_MS + 300u && still >= 300u)
                    {
                        break;                     /* 停在目标附近了(只差一点点)：就这样 */
                    }
                }
                else if (el >= check_after && still >= (uint32_t)SERVO_STILL_MS)
                {
                    Servo_Load(id, &ma, &st);      /* 停住了，离目标还远：看它在不在使劲 */
                    if (ma >= SERVO_PUSH_MA || (st & 0x04u))
                    {
                        Servo_Hold(id, a);         /* 在使劲顶着东西：停在原地 */
                        Servo_Say("STUCK, hold here", id, a, target, ma, st);
                        return 0;
                    }
                    if (kicked)
                    {
                        break;                     /* 重发过还是停着：不再等 */
                    }
                    kicked = 1;                    /* 没使劲，只是停顿了：重发一次目标 */
                    Servo_Say("PAUSED, resend", id, a, target, ma, st);
                    tmax = el + Servo_Start(id, &target, speed_dps) + 400u;
                    tref = HAL_GetTick();
                    continue;
                }
            }
        }
        if (el >= (uint32_t)SERVO_WAIT_MAX_MS || el >= tmax + (have ? (uint32_t)SERVO_SLOW_EXTRA_MS : 0u))
        {
            break;
        }
    }
    if (tol_deg >= 1.0f || kicked)
    {
        Servo_Load(id, &ma, &st);
        Servo_Say("NOT ARRIVED", id, a, target, ma, st);
    }
    Servo_Hold(id, have ? a : target);             /* 没转到：停在现在的位置(一次都没读到就停在目标)，不再往前使劲 */
    return 0;
}

/* 转到绝对角度 angle_deg(度)，speed_dps 速度(度/秒，填 0 用默认值)，离目标 tol_deg 度以内算到位。
 * 不用库里的 FSUS_Wait(它没到位会一直等半个多小时、舵机一直使劲顶着发热)，等法见 Servo_Wait。
 * tol_deg 大(>=1°)才在没到位时通过串口打印提示；微调用的小误差不打印(卡住/停顿一定打印)。 */
void Servo_Move(uint8_t id, float angle_deg, float speed_dps, float tol_deg, uint32_t extra_ms)
{
    uint32_t tmax;

    if (id != 1 && id != 2)
    {
        return;
    }
    tmax = Servo_Start(id, &angle_deg, speed_dps) + extra_ms;
    Servo_Wait(id, angle_deg, speed_dps, tol_deg, tmax, SERVO_CHECK_AFTER_MS);
}

/* 给 arm.c 用(ID1、ID2 一起转，等到时间还没到位的那个)：接着等它到位，处理办法和 Servo_Move 一样
 * (在使劲顶 = 停在原地；只是停顿 = 重发一次；还在慢慢转 = 多等一会儿) */
void Servo_StopIfStuck(uint8_t id, float target)
{
    Servo_Wait(id, target, 0.0f, 1.0f, (uint32_t)SERVO_STILL_MS + 1000u, 0u);
}

/* SV? <id>：读舵机的角度、电压、电流、功率、温度、状态，查"发热 / 没劲 / 转不到位"用。例如
 *   SV 1 ANG=367.6 V=7412mV I=850mA P=6300mW T=58C(adc=1500) ST=0x04 STALL
 * 停着不动时电流还很大(几百 mA 以上) = 舵机在使劲顶着什么东西(被挡住、或者有外力在推它) */
void Servo_Report(uint8_t id)
{
    static const uint8_t addr[5] = { FSUS_PARAM_VOLTAGE, FSUS_PARAM_CURRENT, FSUS_PARAM_POWER,
                                     FSUS_PARAM_TEMPRATURE, FSUS_PARAM_SERVO_STATUS };
    static const char *flag[8] = { " BUSY", " CMDERR", " STALL", " VHIGH", " VLOW", " OVERCURRENT", " OVERPOWER", " OVERHEAT" };
    long v[5];
    uint8_t buf[FSUS_PACK_RESPONSE_MAX_SIZE];
    uint8_t sz;
    float a = 0.0f;
    long ta, tc = -999;
    char m[160];
    int i, n;

    for (i = 0; i < 5; i++)
    {
        v[i] = -1;
        sz = 0;
        if (FSUS_ReadData(&usart2, id, addr[i], buf, &sz) == FSUS_STATUS_SUCCESS && sz >= 1)
        {
            v[i] = (sz >= 2) ? (long)((uint16_t)buf[0] | ((uint16_t)buf[1] << 8)) : (long)buf[0];
        }
        HAL_Delay(5);
    }
    if (v[3] > 0 && v[3] < 4096)                   /* 温度：NTC 10k、B=3435 的分压 ADC 值换算成摄氏度(约) */
    {
        float r = (float)v[3] / (4096.0f - (float)v[3]);
        tc = (long)(1.0f / (logf(r) / 3435.0f + 1.0f / 298.15f) - 273.15f + 0.5f);
    }
    if (!Servo_ReadAngle(id, &a))
    {
        a = 0.0f;
    }
    ta = (long)(a * 10.0f + ((a >= 0.0f) ? 0.5f : -0.5f));
    n = snprintf(m, sizeof(m), "SV %d ANG=%s%ld.%ld V=%ldmV I=%ldmA P=%ldmW T=%ldC(adc=%ld) ST=0x%02lX",
                 (int)id, (ta < 0) ? "-" : "", ((ta < 0) ? -ta : ta) / 10, ((ta < 0) ? -ta : ta) % 10,
                 v[0], v[1], v[2], tc, v[3], (v[4] < 0) ? 0xFFL : v[4]);
    for (i = 1; i < 8 && v[4] >= 0; i++)           /* bit0(正在执行)不打印 */
    {
        if ((v[4] >> i) & 1L)
        {
            n += snprintf(m + n, sizeof(m) - (size_t)n, "%s", flag[i]);
        }
    }
    n += snprintf(m + n, sizeof(m) - (size_t)n, "\r\n");
    HAL_UART_Transmit(&huart3, (uint8_t *)m, (uint16_t)n, 100);
}

/* 舵机内部的设置(飞特舵机的"用户数据"，存在舵机里，断电不丢)。SVP? 打印，SVW 改。地址见 fashion_star_uart_servo.h */
typedef struct
{
    uint8_t     addr;
    uint8_t     size;          /* 1 或 2 字节 */
    uint8_t     sgn;           /* 1 = 有符号 */
    const char *name;
} SvParam;

static const SvParam sv_params[] =
{
    { FSUS_PARAM_RESPONSE_SWITCH,      1, 0, "RESP"   },   /* 0 = 新指令直接覆盖旧指令(程序要求是 0) */
    { FSUS_PARAM_STALL_PROTECT,        1, 0, "STALLM" },   /* 堵转保护：0 = 降功率到 STALLP，1 = 松开 */
    { FSUS_PARAM_STALL_POWER_LIMIT,    2, 0, "STALLP" },   /* 堵转时降到多少 mW */
    { FSUS_PARAM_OVER_VOLT_LOW,        2, 0, "VLOW"   },   /* 电压低于这个(mV)保护 */
    { FSUS_PARAM_OVER_VOLT_HIGH,       2, 0, "VHIGH"  },   /* 电压高于这个(mV)保护 */
    { FSUS_PARAM_OVER_TEMPERATURE,     2, 0, "TMAX"   },   /* 温度上限(℃) */
    { FSUS_PARAM_OVER_POWER,           2, 0, "PMAX"   },   /* 功率上限(mW)：超过就报 OVERPOWER(ST 的 0x40)并限功率 */
    { FSUS_PARAM_OVER_CURRENT,         2, 0, "IMAX"   },   /* 电流上限(mA) */
    { FSUS_PARAM_ACCEL_SWITCH,         1, 0, "ACCEL"  },
    { FSUS_PARAM_POWER_ON_LOCK_SWITCH, 1, 0, "LOCK"   },
    { FSUS_PARAM_ANGLE_LIMIT_SWITCH,   1, 0, "ALIM"   },   /* 舵机自己的角度限位开关 */
    { FSUS_PARAM_SOFT_START_SWITCH,    1, 0, "SOFT"   },
    { FSUS_PARAM_SOFT_START_TIME,       2, 0, "SOFTT"  },
    { FSUS_PARAM_ANGLE_LIMIT_HIGH,     2, 1, "AHIGH"  },   /* 0.1 度 */
    { FSUS_PARAM_ANGLE_LIMIT_LOW,      2, 1, "ALOW"   },
};
#define SV_PARAM_N  ((int)(sizeof(sv_params) / sizeof(sv_params[0])))

/* SVP? <id>：例如 "SVP 1 RESP=0 STALLM=0 STALLP=4000 VLOW=4500 … PMAX=8000 IMAX=1500 …"(读不到的是 ?) */
void Servo_Params(uint8_t id)
{
    uint8_t buf[FSUS_PACK_RESPONSE_MAX_SIZE];
    uint8_t sz;
    char m[320];
    int n, i;
    long v;

    n = snprintf(m, sizeof(m), "SVP %d", (int)id);
    for (i = 0; i < SV_PARAM_N && n < (int)sizeof(m) - 24; i++)
    {
        sz = 0;
        if (FSUS_ReadData(&usart2, id, sv_params[i].addr, buf, &sz) == FSUS_STATUS_SUCCESS && sz >= 1)
        {
            if (sz >= 2)
            {
                v = (long)((uint16_t)buf[0] | ((uint16_t)buf[1] << 8));
                if (sv_params[i].sgn && v >= 32768L)
                {
                    v -= 65536L;
                }
            }
            else
            {
                v = (long)buf[0];
            }
            n += snprintf(m + n, sizeof(m) - (size_t)n, " %s=%ld", sv_params[i].name, v);
        }
        else
        {
            n += snprintf(m + n, sizeof(m) - (size_t)n, " %s=?", sv_params[i].name);
        }
        HAL_Delay(5);
    }
    n += snprintf(m + n, sizeof(m) - (size_t)n, "\r\n");
    HAL_UART_Transmit(&huart3, (uint8_t *)m, (uint16_t)n, 200);
}

/* SVW <id> <名字> <数值>：改一项舵机内部设置。返回 1 成功，0 没有这个名字，2 数值不对，-1 写失败。
 * 舵机 ID、波特率不在表里，改不了(改错了 STM32 就再也找不到舵机)；RESP 只能写 0 */
int Servo_WriteParam(uint8_t id, const char *name, long value)
{
    uint8_t b[2];
    int i;

    for (i = 0; i < SV_PARAM_N; i++)
    {
        if (strcmp(sv_params[i].name, name) == 0)
        {
            const SvParam *p = &sv_params[i];
            long lo = p->sgn ? -32768L : 0L;
            long hi = (p->size == 1) ? 255L : (p->sgn ? 32767L : 65535L);

            if (value < lo || value > hi || (p->addr == FSUS_PARAM_RESPONSE_SWITCH && value != 0))
            {
                return 2;
            }
            b[0] = (uint8_t)((unsigned long)value & 0xFFu);
            b[1] = (uint8_t)(((unsigned long)value >> 8) & 0xFFu);
            return (FSUS_WriteData(&usart2, id, p->addr, b, p->size) == FSUS_STATUS_SUCCESS) ? 1 : -1;
        }
    }
    return 0;
}

/* 原来的接口：转到绝对角度，到位误差 2°，多等 1 秒 */
void Servo_SetAngle(uint8_t id, float angle_deg, float speed_dps)
{
    Servo_Move(id, angle_deg, speed_dps, SERVO_ARRIVE_TOL, SERVO_WAIT_EXTRA_MS);
}

/* 在当前角度上再转 delta_deg 度(正负都可以)，同样受限位保护。
 * 读不到当前角度时不转，只打印提示，防止按 0° 算出错误目标一下转好几圈 */
void Servo_MoveRelative(uint8_t id, float delta_deg, float speed_dps)
{
    float a0;
    if (!Servo_ReadAngle(id, &a0))
    {
        char m[48];
        int n = snprintf(m, sizeof(m), "SERVO%d READ FAIL, NOT MOVED\r\n", (int)id);
        HAL_UART_Transmit(&huart3, (uint8_t *)m, (uint16_t)n, 100);
        return;
    }
    Servo_SetAngle(id, a0 + delta_deg, speed_dps);
}

/* 松手：进入阻尼模式，舵机不再主动出力，就不会一直发热。下次 Servo_SetAngle 会自动重新出力。
 * 注意：松手后机构如果会因为重力掉下来，就别在那个姿势松手，或者把 SERVO_RELEASE_POWER 调大(有阻尼，慢慢落) */
void Servo_Release(uint8_t id)
{
    FSUS_DampingMode(&usart2, id, SERVO_RELEASE_POWER);
}

void UART4_SendByte(uint8_t Byte)
{
    HAL_UART_Transmit(&huart4, &Byte, 1, 1000);
}

void UART4_SendArray(uint8_t *Array, uint16_t Length)
{
    uint16_t i;

    for (i = 0; i < Length; i++)
    {
        UART4_SendByte(Array[i]);
    }
}
/* USER CODE END 4 */

void Error_Handler(void)
{
  __disable_irq();
  while (1)
  {
  }
}
